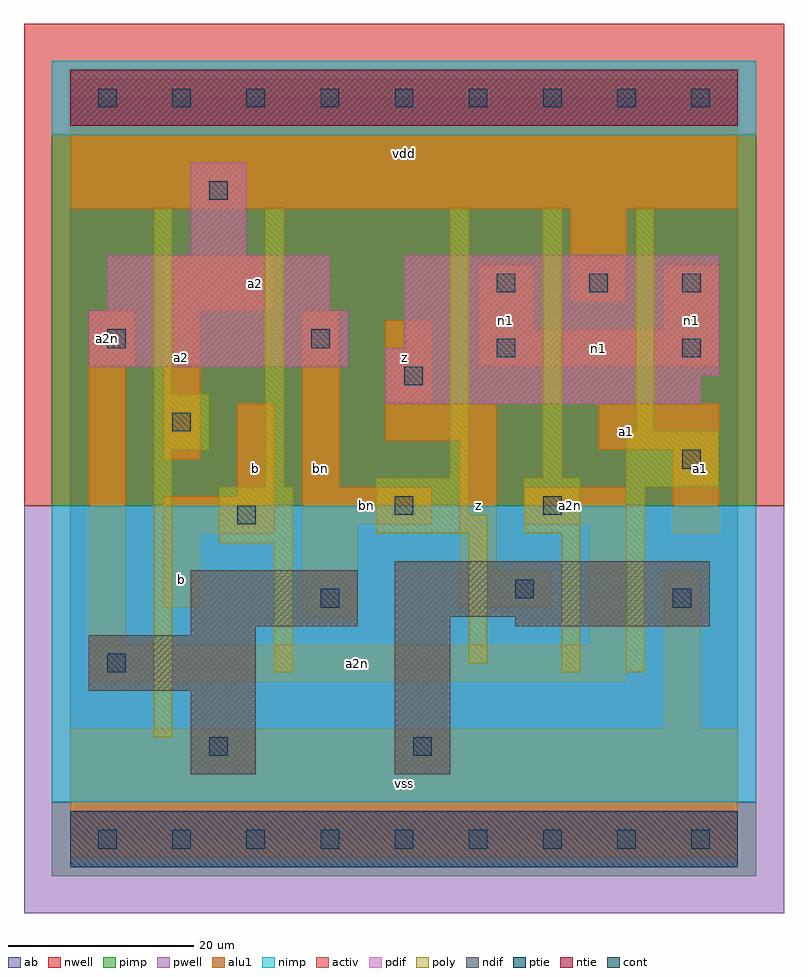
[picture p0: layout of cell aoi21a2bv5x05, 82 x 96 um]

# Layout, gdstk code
import gdstk
lib = gdstk.Library(unit=1e-6, precision=1e-09)
def R(c, l, rs):  # rectangles x0, y0, x1, y1
    for r in rs: c.add(gdstk.rectangle(r[:2], r[2:], *l))
def A(c, l, x, y, w, h, nx, ny, dx, dy):  # array of equal rectangles
    R(c, l, [(x+i*dx, y+j*dy, x+i*dx+w, y+j*dy+h) for i in range(nx) for j in range(ny)])
ndif = (3, 0)
pdif = (4, 0)
ntie = (5, 0)
ptie = (6, 0)
cont = (25, 0)
pwell = (41, 0)
nwell = (42, 0)
activ = (43, 0)
pimp = (44, 0)
nimp = (45, 0)
poly = (46, 0)
alu1 = (49, 0)
ab = (63, 0)

aoi21a2bv5x05 = lib.new_cell('aoi21a2bv5x05')
R(aoi21a2bv5x05, ndif, [(13,7,20,16), (35,7,41,24), (2,16,20,22), (13,22,20,23), (13,23,31,29), (48,23,69,24), (35,24,69,30)])
R(aoi21a2bv5x05, pdif, [(34,47,68,50), (34,50,70,53), (2,51,30,57), (36,53,70,63), (4,57,28,63), (13,63,19,73)])
R(aoi21a2bv5x05, ntie, [(0,77,72,83)])
R(aoi21a2bv5x05, ptie, [(0,-3,72,3)])
A(aoi21a2bv5x05, cont, 3, -1, 2, 2, 9, 2, 8, 80)
A(aoi21a2bv5x05, cont, 46, 59, 2, 2, 3, 1, 10, 0)
R(aoi21a2bv5x05, cont, [(15,9,17,11), (37,9,39,11), (4,18,6,20), (27,25,29,27), (65,25,67,27), (48,26,50,28), (18,34,20,36), (35,35,37,37), (51,35,53,37), (66,40,68,42), (11,44,13,46), (36,49,38,51), (46,52,48,54), (66,52,68,54), (4,53,6,55), (26,53,28,55), (15,69,17,71)])
R(aoi21a2bv5x05, pwell, [(-5,-8,77,36)])
R(aoi21a2bv5x05, nwell, [(-5,36,77,88)])
R(aoi21a2bv5x05, activ, [(0,-3,72,3), (13,7,20,16), (35,7,41,24), (2,16,20,22), (13,22,20,23), (13,23,31,29), (48,23,69,24), (35,24,69,30), (34,47,68,50), (34,50,70,53), (2,51,30,57), (36,53,70,63), (4,57,28,63), (13,63,19,73), (0,77,72,83)])
R(aoi21a2bv5x05, pimp, [(-2,-4,74,4), (-2,36,74,76)])
R(aoi21a2bv5x05, nimp, [(-2,4,74,36), (-2,76,74,84)])
R(aoi21a2bv5x05, poly, [(9,11,11,42), (22,18,24,32), (53,18,55,33), (60,18,62,38), (43,19,45,33), (16,32,24,38), (33,33,45,35), (49,33,55,39), (33,35,43,39), (21,38,23,68), (60,38,70,44), (41,39,43,68), (51,39,53,68), (9,42,15,48), (61,44,63,68), (9,48,11,68)])
R(aoi21a2bv5x05, alu1, [(0,-2,72,12), (64,12,68,29), (2,17,60,21), (2,21,6,51), (56,21,60,34), (25,24,31,34), (10,25,14,33), (42,25,52,29), (42,29,46,43), (10,33,22,37), (65,33,70,42), (25,34,39,38), (49,34,60,38), (18,37,22,47), (25,38,29,57), (10,41,14,57), (57,42,70,47), (34,43,46,47), (34,47,39,56), (2,51,7,57), (44,51,70,55), (44,55,50,62), (64,55,70,62), (10,57,22,63), (54,58,60,68), (0,68,72,82)])
R(aoi21a2bv5x05, ab, [(0,0,72,80)])
aoi21a2bv5x05.add(gdstk.Label('a2n', (4,54), layer=49, texttype=0))
aoi21a2bv5x05.add(gdstk.Label('bn', (27,40), layer=49, texttype=0))
aoi21a2bv5x05.add(gdstk.Label('bn', (32,36), layer=49, texttype=0))
aoi21a2bv5x05.add(gdstk.Label('n1', (47,56), layer=49, texttype=0))
aoi21a2bv5x05.add(gdstk.Label('a2n', (31,19), layer=49, texttype=0))
aoi21a2bv5x05.add(gdstk.Label('a2n', (54,36), layer=49, texttype=0))
aoi21a2bv5x05.add(gdstk.Label('n1', (57,53), layer=49, texttype=0))
aoi21a2bv5x05.add(gdstk.Label('n1', (67,56), layer=49, texttype=0))
aoi21a2bv5x05.add(gdstk.Label('b', (12,28), layer=49, texttype=0))
aoi21a2bv5x05.add(gdstk.Label('a2', (12,52), layer=49, texttype=0))
aoi21a2bv5x05.add(gdstk.Label('b', (20,40), layer=49, texttype=0))
aoi21a2bv5x05.add(gdstk.Label('a2', (20,60), layer=49, texttype=0))
aoi21a2bv5x05.add(gdstk.Label('vss', (36,6), layer=49, texttype=0))
aoi21a2bv5x05.add(gdstk.Label('z', (44,36), layer=49, texttype=0))
aoi21a2bv5x05.add(gdstk.Label('z', (36,52), layer=49, texttype=0))
aoi21a2bv5x05.add(gdstk.Label('vdd', (36,74), layer=49, texttype=0))
aoi21a2bv5x05.add(gdstk.Label('a1', (60,44), layer=49, texttype=0))
aoi21a2bv5x05.add(gdstk.Label('a1', (68,40), layer=49, texttype=0))

lib.write_gds('aoi21a2bv5x05.gds')
